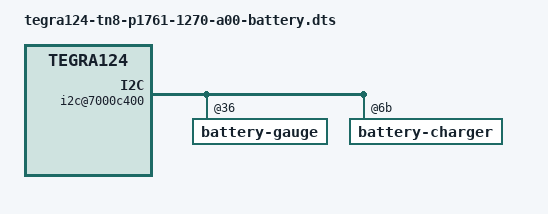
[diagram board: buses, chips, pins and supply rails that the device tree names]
#include "tegra124-tn8-p1761-1270-a00.dts"
#include "tegra124-platforms/tegra124-tn8-usb-devices.dtsi"

/ {
	nvidia,dtsfilename = __FILE__;

	i2c@7000c400 {
		battery-gauge@36 {
			status = "okay";
		};

		battery-charger@6b {
			charger {
				status = "okay";
			};
		};
	};

	sysedp_batmon_calc {
		status = "okay";
	};
};
